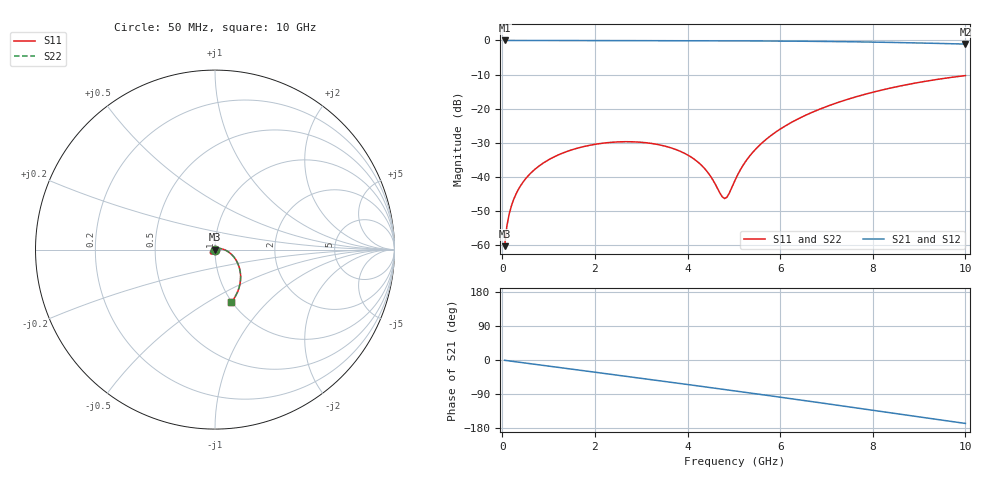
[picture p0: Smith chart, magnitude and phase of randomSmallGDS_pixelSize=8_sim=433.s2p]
! freq	dB(S11)	phase(S11)	dB(S12)	phase(S12)
!  dB(S21)	phase(S21)	dB(S22)	phase(S22)
!S-par simulation data
#  GHz  S  DB  R 50
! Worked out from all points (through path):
!   200 points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, 50 MHz to 10 GHz, reference 50 ohm
!   highest |S21| = 0.00 dB at 50 MHz (marker M1); lowest = -1.1 dB at 10 GHz (marker M2)
!   group delay of S21, straight-line fit = 46.5 ps
!   lowest |S11| = -60.2 dB at 50 MHz (marker M3), VSWR 1.00, Z = 50 - j0.0972 ohm
!   |S11| at or under -10 dB: start of sweep to end of sweep
!   |S22| runs from -60.2 to -10.3 dB; largest |S21 - S12| = 0
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0.05  -60.25 -89.9  -0.00 -0.8  -0.00 -0.8  -60.25 -89.9
0.1  -54.26 -91.7  -0.00 -1.6  -0.00 -1.6  -54.25 -91.7
0.2  -48.31 -94.0  -0.00 -3.2  -0.00 -3.2  -48.31 -94.0
0.35  -43.56 -96.8  -0.00 -5.7  -0.00 -5.7  -43.56 -96.8
0.5  -40.57 -99.4  -0.01 -8.1  -0.01 -8.1  -40.57 -99.3
1  -34.95 -107.7  -0.02 -16.1  -0.02 -16.1  -34.95 -107.7
1.75  -31.10 -120.5  -0.03 -28.2  -0.03 -28.2  -31.10 -120.5
2.6  -29.67 -135.2  -0.05 -41.9  -0.05 -41.9  -29.66 -135.2
3.4  -30.59 -150.2  -0.06 -54.8  -0.06 -54.8  -30.59 -150.1
3.85  -32.51 -160.2  -0.08 -62.2  -0.08 -62.2  -32.51 -160.1
4.2  -35.35 -170.8  -0.09 -67.9  -0.09 -67.9  -35.35 -170.6
4.45  -38.87 176.3  -0.09 -72.1  -0.09 -72.1  -38.89 176.7
4.8  -46.30 106.5  -0.11 -77.9  -0.11 -77.9  -46.47 106.7
4.9  -44.76 70.1  -0.11 -79.5  -0.11 -79.5  -44.89 69.7
5.05  -40.24 40.7  -0.12 -82.0  -0.12 -82.0  -40.30 40.3
5.3  -34.58 21.8  -0.13 -86.2  -0.13 -86.2  -34.60 21.5
5.65  -29.51 9.1  -0.15 -92.1  -0.15 -92.1  -29.52 8.9
6.1  -25.12 -1.9  -0.19 -99.8  -0.19 -99.8  -25.13 -2.0
6.7  -20.99 -14.1  -0.25 -110.1  -0.25 -110.1  -21.00 -14.2
8.35  -14.04 -44.2  -0.56 -138.8  -0.56 -138.8  -14.04 -44.3
9.2  -11.82 -59.1  -0.80 -153.6  -0.80 -153.6  -11.82 -59.2
10  -10.29 -72.7  -1.06 -167.4  -1.06 -167.4  -10.29 -72.8
